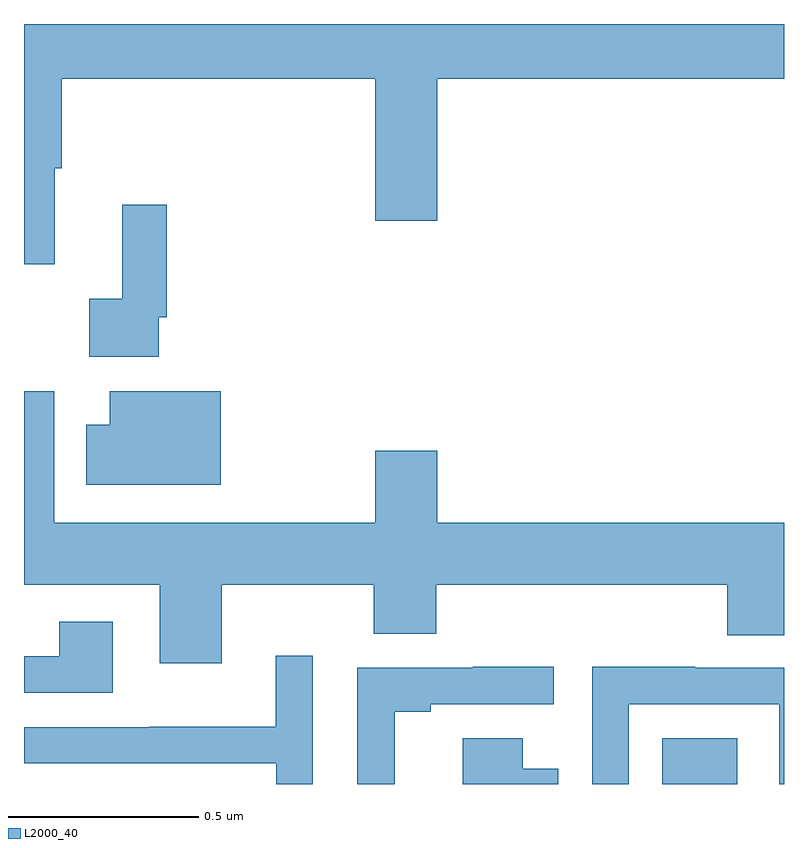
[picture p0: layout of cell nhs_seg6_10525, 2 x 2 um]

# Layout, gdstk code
import gdstk
lib = gdstk.Library(unit=1e-6, precision=1e-09)
def R(c, l, rs):  # rectangles x0, y0, x1, y1
    for r in rs: c.add(gdstk.rectangle(r[:2], r[2:], *l))
def P(c, l, *ps):  # polygons
    for p in ps: c.add(gdstk.Polygon(p, *l))
L2000_40 = (2000, 40)

nhs_seg6_10525 = lib.new_cell('nhs_seg6_10525')
R(nhs_seg6_10525, L2000_40, [(249.68,925.5,249.877,925.621)])
P(nhs_seg6_10525, L2000_40, [(248.081,927.12),(248.099,927.12),(248.099,927.356),(248.924,927.356),(248.924,926.982),(249.088,926.982),(249.088,927.356),(250,927.356),(250,927.5),(248,927.5),(248,926.868),(248.081,926.868)],
  [(248.355,926.728),(248.375,926.728),(248.375,927.025),(248.258,927.025),(248.258,926.777),(248.172,926.777),(248.172,926.624),(248.355,926.624)],
  [(248.521,926.024),(248.921,926.024),(248.921,925.896),(249.085,925.896),(249.085,926.024),(249.851,926.024),(249.851,925.891),(250,925.891),(250,926.188),(249.088,926.188),(249.088,926.377),(248.924,926.377),(248.924,926.188),(248.079,926.188),(248.079,926.533),(248,926.533),(248,926.024),(248.357,926.024),(248.357,925.818),(248.521,925.818)],
  [(248.518,926.533),(248.225,926.533),(248.225,926.446),(248.164,926.446),(248.164,926.288),(248.518,926.288)],
  [(248.233,925.927),(248.093,925.927),(248.093,925.836),(248,925.836),(248,925.74),(248.233,925.74)],
  [(248.76,925.837),(248.663,925.837),(248.663,925.651),(248.329,925.651),(248.329,925.65),(248,925.65),(248,925.554),(248.664,925.554),(248.664,925.5),(248.76,925.5)],
  [(249.591,925.71),(249.987,925.71),(249.987,925.5),(250,925.5),(250,925.806),(249.767,925.806),(249.767,925.808),(249.495,925.808),(249.495,925.5),(249.591,925.5)],
  [(248.975,925.69),(249.07,925.69),(249.07,925.71),(249.394,925.71),(249.394,925.808),(249.181,925.808),(249.181,925.806),(248.877,925.806),(248.877,925.5),(248.975,925.5)],
  [(249.406,925.54),(249.313,925.54),(249.313,925.621),(249.155,925.621),(249.155,925.5),(249.406,925.5)])

lib.write_gds('nhs_seg6_10525.gds')
